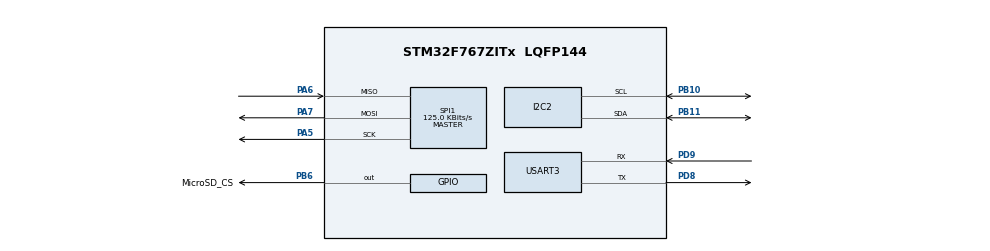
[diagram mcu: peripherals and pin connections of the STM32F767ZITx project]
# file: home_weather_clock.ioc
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CORTEX_M7.default_mode_Activation=1
FATFS._FS_EXFAT=1
FATFS._USE_LFN=2
FREERTOS.Tasks01=defaultTask,24,256,StartDefaultTask,Default,NULL,Dynamic,NULL,NULL
FREERTOS.configUSE_NEWLIB_REENTRANT=1
Mcu.Family=STM32F7
Mcu.Name=STM32F767ZITx
Mcu.Package=LQFP144
NVIC.PriorityGroup=NVIC_PRIORITYGROUP_4
NVIC.TIM8_TRG_COM_TIM14_IRQn=true\:15\:0\:false\:false\:true\:false\:false\:true\:true
NVIC.TimeBase=TIM8_TRG_COM_TIM14_IRQn
NVIC.TimeBaseIP=TIM14
PA13.Mode=Trace_Asynchronous_SW
PA13.Signal=SYS_JTMS-SWDIO
PA14.Mode=Trace_Asynchronous_SW
PA14.Signal=SYS_JTCK-SWCLK
PA5.GPIO_PuPd=GPIO_PULLUP
PA5.Mode=Full_Duplex_Master
PA5.Signal=SPI1_SCK
PA6.GPIO_PuPd=GPIO_PULLUP
PA6.Mode=Full_Duplex_Master
PA6.Signal=SPI1_MISO
PA7.GPIO_PuPd=GPIO_PULLUP
PA7.Mode=Full_Duplex_Master
PA7.Signal=SPI1_MOSI
PB10.GPIO_Pu=GPIO_PULLUP
PB10.Mode=I2C
PB10.Signal=I2C2_SCL
PB11.GPIO_Pu=GPIO_PULLUP
PB11.Mode=I2C
PB11.Signal=I2C2_SDA
PB3.Mode=Trace_Asynchronous_SW
PB3.Signal=SYS_JTDO-SWO
PB6.GPIO_Label=MicroSD_CS
PB6.GPIO_PuPd=GPIO_PULLUP
PB6.PinState=GPIO_PIN_SET
PB6.Signal=GPIO_Output
PD8.Mode=Asynchronous
PD8.Signal=USART3_TX
PD9.Mode=Asynchronous
PD9.Signal=USART3_RX
ProjectManager.HeapSize=0x200
ProjectManager.StackSize=0x400
ProjectManager.TargetToolchain=STM32CubeIDE
RCC.HSE_VALUE=25000000
RCC.HSI_VALUE=16000000
RCC.LSE_VALUE=32768
RCC.USBFreq_Value=96000000
RCC.VCOOutputFreq_Value=192000000
SPI1.BaudRatePrescaler=SPI_BAUDRATEPRESCALER_128
SPI1.CalculateBaudRate=125.0 KBits/s
SPI1.DataSize=SPI_DATASIZE_8BIT
SPI1.Direction=SPI_DIRECTION_2LINES
SPI1.Mode=SPI_MODE_MASTER
SPI1.VirtualType=VM_MASTER
USART3.VirtualMode-Asynchronous=VM_ASYNC
VP_FATFS_VS_Generic.Mode=User_defined
VP_FREERTOS_VS_CMSIS_V2.Mode=CMSIS_V2
VP_SYS_VS_tim14.Mode=TIM14
board=custom

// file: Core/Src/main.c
/* USER CODE BEGIN Header */
/**
 ******************************************************************************
 * @file           : main.c
 * @brief          : Main program body
 ******************************************************************************
 * @attention
 *
 * Copyright (c) 2025 STMicroelectronics.
 * All rights reserved.
 *
 * This software is licensed under terms that can be found in the LICENSE file
 * in the root directory of this software component.
 * If no LICENSE file comes with this software, it is provided AS-IS.
 *
 ******************************************************************************
 */
/* USER CODE END Header */
#include "main.h"
#include "cmsis_os.h"
#include "fatfs.h"

/* USER CODE BEGIN Includes */
#include <stdio.h>
#include "bme280_task.h"
#include "bme280_defs.h"
#include "stdbool.h"
#include "string.h"
/* USER CODE END Includes */

/* USER CODE BEGIN PD */
/**
 * Redirect stdout and stderr to our UART3 debug
 */
UART_HandleTypeDef huart3;
int _write(int fd, char *ptr, int len) {
	HAL_StatusTypeDef hstatus;

	if (fd == 1 || fd == 2) {
		hstatus = HAL_UART_Transmit(&huart3, (uint8_t*) ptr, len,
		HAL_MAX_DELAY);
		if (hstatus == HAL_OK)
			return len;
		else
			return -1;
	}
	return -1;
}
/* USER CODE END PD */

I2C_HandleTypeDef hi2c2;

SPI_HandleTypeDef hspi1;

UART_HandleTypeDef huart3;

/* Definitions for defaultTask */
osThreadId_t defaultTaskHandle;
const osThreadAttr_t defaultTask_attributes = { .name = "defaultTask",
		.stack_size = 1024 * 4, .priority = (osPriority_t) osPriorityNormal, };
/* USER CODE BEGIN PV */
osThreadId_t bme280SensorTaskHandle;
const osThreadAttr_t bme280SensorTask_attributes = { .name = "bme280SensorTask",
		.stack_size = 256 * 4, .priority = (osPriority_t) osPriorityNormal, };
FATFS fs;  // File system object
FIL fil;   // File object
/* USER CODE END PV */

void SystemClock_Config(void);
static void MPU_Config(void);
static void MX_GPIO_Init(void);
static void MX_USART3_UART_Init(void);
static void MX_SPI1_Init(void);
static void MX_I2C2_Init(void);
void StartDefaultTask(void *argument);

/* USER CODE BEGIN 0 */

void test_basic_spi(void) {
	uint8_t tx = 0x55;
	uint8_t rx = 0;

	printf("Testing basic SPI...\n");

	// Manually control CS
	HAL_GPIO_WritePin(GPIOB, GPIO_PIN_6, GPIO_PIN_RESET);
	HAL_Delay(1);

	HAL_StatusTypeDef status = HAL_SPI_TransmitReceive(&hspi1, &tx, &rx, 1,
	HAL_MAX_DELAY);

	HAL_GPIO_WritePin(GPIOB, GPIO_PIN_6, GPIO_PIN_SET);

	printf("SPI status: %d, Sent: 0x55, Received: 0x%02X\n", status, rx);
}

void Test_SD_Card() {
	printf("\n=== SD Card Initialization ===\n");

	// 1. Power-up sequence - ensure CS is high for at least 1ms
	HAL_GPIO_WritePin(GPIOB, GPIO_PIN_6, GPIO_PIN_SET); // CS HIGH
	HAL_Delay(100); // Power stabilization delay

	// Send 80+ clocks (10 bytes of 0xFF) with CS high
	uint8_t dummy = 0xFF;
	for (int i = 0; i < 10; i++) {
		HAL_SPI_Transmit(&hspi1, &dummy, 1, 100);
	}
	HAL_Delay(10);

	// 2. Send CMD0 (GO_IDLE_STATE) with proper timing
	uint8_t response;
	int attempts = 0;

	do {
		// Select card (CS low)
		HAL_GPIO_WritePin(GPIOB, GPIO_PIN_6, GPIO_PIN_RESET);
		HAL_Delay(1); // Short delay after CS assertion

		// Send CMD0: 0x40, 0x00, 0x00, 0x00, 0x00, 0x95
		uint8_t cmd0[] = { 0x40, 0x00, 0x00, 0x00, 0x00, 0x95 };
		HAL_SPI_Transmit(&hspi1, cmd0, 6, 100);

		// Wait for response (R1) - should be 0x01
		// SD cards can take up to 8 bytes to respond
		response = 0xFF;
		for (int i = 0; i < 8; i++) {
			HAL_SPI_TransmitReceive(&hspi1, &dummy, &response, 1, 100);
			if (response != 0xFF)
				break;
		}

		// Deselect card (CS high)
		HAL_GPIO_WritePin(GPIOB, GPIO_PIN_6, GPIO_PIN_SET);

		// Send at least one more clock cycle after deselecting
		HAL_SPI_Transmit(&hspi1, &dummy, 1, 100);
		HAL_Delay(10);

		printf("CMD0 attempt %d: 0x%02X\n", ++attempts, response);

		if (response == 0x01) {
			printf("CMD0 success (0x01 response)\n");
			break;
		}

		if (attempts >= 10) {
			printf("Failed to get valid CMD0 response after %d attempts\n",
					attempts);
			return;
		}

		HAL_Delay(100); // Wait before retry
	} while (response != 0x01);

	// 3. Send CMD8 to check voltage compatibility (SDC V2)
	HAL_GPIO_WritePin(GPIOB, GPIO_PIN_6, GPIO_PIN_RESET); // CS LOW
	HAL_Delay(1);

	uint8_t cmd8[] = { 0x48, 0x00, 0x00, 0x01, 0xAA, 0x87 }; // 2.7-3.6V, check pattern 0xAA
	HAL_SPI_Transmit(&hspi1, cmd8, 6, 100);

	// Wait for R1 response first
	uint8_t r1_response = 0xFF;
	for (int i = 0; i < 8; i++) {
		HAL_SPI_TransmitReceive(&hspi1, &dummy, &r1_response, 1, 100);
		if (r1_response != 0xFF)
			break;
	}

	// Read remaining 4 bytes of R7 response
	uint8_t r7_data[4];
	for (int i = 0; i < 4; i++) {
		HAL_SPI_TransmitReceive(&hspi1, &dummy, &r7_data[i], 1, 100);
	}

	HAL_GPIO_WritePin(GPIOB, GPIO_PIN_6, GPIO_PIN_SET); // CS HIGH
	HAL_SPI_Transmit(&hspi1, &dummy, 1, 100);

	printf("CMD8 R1: 0x%02X, R7 data: %02X %02X %02X %02X\n", r1_response,
			r7_data[0], r7_data[1], r7_data[2], r7_data[3]);

	// Check if CMD8 was accepted and voltage is compatible
	bool is_sdc_v2 = (r1_response == 0x01) && (r7_data[2] == 0x01)
			&& (r7_data[3] == 0xAA);
	printf("SDC V2 compatible: %s\n", is_sdc_v2 ? "Yes" : "No");

	// 4. Initialize with ACMD41 (retry with different approaches)
	uint32_t init_timeout = HAL_GetTick();
	uint32_t hcs_bit = is_sdc_v2 ? 0x40000000 : 0x00000000; // Set HCS bit for SDC V2

	printf("Starting ACMD41 initialization (HCS bit: %s)...\n",
			is_sdc_v2 ? "Set" : "Clear");

	do {
		// First send CMD55 (APP_CMD)
		HAL_GPIO_WritePin(GPIOB, GPIO_PIN_6, GPIO_PIN_RESET); // CS LOW
		HAL_Delay(1);

		uint8_t cmd55[] = { 0x77, 0x00, 0x00, 0x00, 0x00, 0x01 };
		HAL_SPI_Transmit(&hspi1, cmd55, 6, 100);

		// Wait for R1 response
		uint8_t cmd55_response = 0xFF;
		for (int i = 0; i < 8; i++) {
			HAL_SPI_TransmitReceive(&hspi1, &dummy, &cmd55_response, 1, 100);
			if (cmd55_response != 0xFF)
				break;
		}

		HAL_GPIO_WritePin(GPIOB, GPIO_PIN_6, GPIO_PIN_SET); // CS HIGH
		HAL_SPI_Transmit(&hspi1, &dummy, 1, 100);
		HAL_Delay(1);

		if (cmd55_response > 0x01) {
			printf("CMD55 failed: 0x%02X\n", cmd55_response);
			return;
		}

		// Then send ACMD41
		HAL_GPIO_WritePin(GPIOB, GPIO_PIN_6, GPIO_PIN_RESET); // CS LOW
		HAL_Delay(1);

		uint8_t acmd41[] = { 0x69, (hcs_bit >> 24) & 0xFF, (hcs_bit >> 16)
				& 0xFF, (hcs_bit >> 8) & 0xFF, hcs_bit & 0xFF, 0x01 };
		HAL_SPI_Transmit(&hspi1, acmd41, 6, 100);

		// Wait for R1 response
		response = 0xFF;
		for (int i = 0; i < 8; i++) {
			HAL_SPI_TransmitReceive(&hspi1, &dummy, &response, 1, 100);
			if (response != 0xFF)
				break;
		}

		HAL_GPIO_WritePin(GPIOB, GPIO_PIN_6, GPIO_PIN_SET); // CS HIGH
		HAL_SPI_Transmit(&hspi1, &dummy, 1, 100);

		if ((HAL_GetTick() - init_timeout) > 2000) {
			printf("ACMD41 timeout! Last response: 0x%02X\n", response);

			// Try alternative initialization for older cards
			printf("Trying alternative initialization for SDC V1/MMC...\n");
			init_timeout = HAL_GetTick();
			hcs_bit = 0x00000000; // Clear HCS bit
			continue;
		}

		if (response == 0x00) {
			printf("ACMD41 successful: 0x%02X\n", response);
			break;
		}

		// Only print every 10th attempt to reduce spam
		static int acmd41_count = 0;
		if (++acmd41_count % 10 == 0) {
			printf("ACMD41 attempt %d: 0x%02X\n", acmd41_count, response);
		}

		HAL_Delay(50); // Longer delay between attempts

	} while (response != 0x00);

	printf("Card initialized successfully!\n");

	// 5. Read OCR to verify card type (optional)
	HAL_GPIO_WritePin(GPIOB, GPIO_PIN_6, GPIO_PIN_RESET); // CS LOW
	HAL_Delay(1);

	uint8_t cmd58[] = { 0x7A, 0x00, 0x00, 0x00, 0x00, 0x01 };
	HAL_SPI_Transmit(&hspi1, cmd58, 6, 100);

	// Read R3 response (5 bytes: R1 + 4 OCR bytes)
	uint8_t ocr_response[5];
	for (int i = 0; i < 5; i++) {
		HAL_SPI_TransmitReceive(&hspi1, &dummy, &ocr_response[i], 1, 100);
	}

	HAL_GPIO_WritePin(GPIOB, GPIO_PIN_6, GPIO_PIN_SET); // CS HIGH
	HAL_SPI_Transmit(&hspi1, &dummy, 1, 100);

	printf("CMD58 Response: 0x%02X, OCR: %02X %02X %02X %02X\n",
			ocr_response[0], ocr_response[1], ocr_response[2], ocr_response[3],
			ocr_response[4]);

	// Check if it's SDHC/SDXC (bit 30 of OCR)
	if (ocr_response[1] & 0x40) {
		printf("Card type: SDHC/SDXC\n");
	} else {
		printf("Card type: SDSC\n");
	}
}

void Test_SD_FileSystem(void) {
	printf("\n=== Testing SD Card File System ===\n");

	FRESULT res;
	UINT bytesWritten, bytesRead;
	char writeBuffer[] =
			"Hello SD Card! This is a test file.\r\nLine 2: Temperature and sensor data can be stored here.\r\n";
	char readBuffer[200];

	// 1. Try to mount the file system
	res = f_mount(&fs, "", 1);  // 1 = mount immediately
	if (res == FR_NO_FILESYSTEM) {
		printf("No file system found. Card may need formatting.\n");
		printf(
				"Since card shows as FAT32 on PC, let's try different mount options...\n");

		// Try mounting without immediate mount
		res = f_mount(&fs, "", 0);
		if (res != FR_OK) {
			printf("Alternative mount also failed: %d\n", res);

			// Only try formatting as last resort
			printf("Attempting to format SD card...\n");
			static BYTE work[4096];
			res = f_mkfs("", FM_FAT32, 0, work, sizeof(work));
			if (res != FR_OK) {
				printf("f_mkfs failed: %d\n", res);
				printf(
						"Error codes: FR_DISK_ERR=1, FR_NOT_READY=3, FR_WRITE_PROTECTED=10, FR_INVALID_PARAMETER=19\n");
				return;
			}
			printf("SD card formatted successfully\n");

			// Try to mount again after formatting
			res = f_mount(&fs, "", 1);
			if (res != FR_OK) {
				printf("f_mount after format failed: %d\n", res);
				return;
			}
		}
		printf("File system mounted successfully\n");
	} else if (res != FR_OK) {
		printf("f_mount failed: %d\n", res);
		printf(
				"Error codes: FR_DISK_ERR=1, FR_NOT_READY=3, FR_NO_FILESYSTEM=13\n");
		return;
	} else {
		printf("File system mounted successfully (existing FAT32)\n");
	}

	// 2. Create/Open a test file for writing
	res = f_open(&fil, "test.txt", FA_CREATE_ALWAYS | FA_WRITE);
	if (res != FR_OK) {
		printf("f_open for write failed: %d\n", res);
		f_mount(NULL, "", 0); // Unmount
		return;
	}
	printf("File opened for writing\n");

	// 3. Write data to file
	res = f_write(&fil, writeBuffer, strlen(writeBuffer), &bytesWritten);
	if (res != FR_OK) {
		printf("f_write failed: %d\n", res);
		f_close(&fil);
		f_mount(NULL, "", 0);
		return;
	}
	printf("Written %u bytes to file\n", bytesWritten);

	// 4. Close the file
	res = f_close(&fil);
	if (res != FR_OK) {
		printf("f_close after write failed: %d\n", res);
		f_mount(NULL, "", 0);
		return;
	}
	printf("File closed after writing\n");

	// 5. Open the file for reading
	res = f_open(&fil, "test.txt", FA_READ);
	if (res != FR_OK) {
		printf("f_open for read failed: %d\n", res);
		f_mount(NULL, "", 0);
		return;
	}
	printf("File opened for reading\n");

	// 6. Read data from file
	memset(readBuffer, 0, sizeof(readBuffer));
	res = f_read(&fil, readBuffer, sizeof(readBuffer) - 1, &bytesRead);
	if (res != FR_OK) {
		printf("f_read failed: %d\n", res);
		f_close(&fil);
		f_mount(NULL, "", 0);
		return;
	}
	printf("Read %u bytes from file\n", bytesRead);

	// 7. Display read data
	printf("File contents:\n%s\n", readBuffer);

	// 8. Verify data integrity
	if (strcmp(writeBuffer, readBuffer) == 0) {
		printf("✓ Data integrity verified - write/read successful!\n");
	} else {
		printf("✗ Data mismatch detected!\n");
		printf("Expected length: %d, Got length: %d\n", strlen(writeBuffer),
				strlen(readBuffer));
	}

	// 9. Test directory listing (optional)
	printf("\nTesting directory listing:\n");
	DIR dir;
	FILINFO fno;

	res = f_opendir(&dir, "/");
	if (res == FR_OK) {
		for (;;) {
			res = f_readdir(&dir, &fno);
			if (res != FR_OK || fno.fname[0] == 0)
				break;
			printf("  %s (%lu bytes)\n", fno.fname, fno.fsize);
		}
		f_closedir(&dir);
	}

	// 10. Close file and unmount
	f_close(&fil);
	f_mount(NULL, "", 0);
	printf("File system unmounted\n");

	printf("=== SD Card File System Test Complete ===\n\n");
}
/* USER CODE END 0 */

int main(void) {

	/* MPU Configuration--------------------------------------------------------*/
	MPU_Config();

	/* MCU Configuration--------------------------------------------------------*/

	/* Reset of all peripherals, Initializes the Flash interface and the Systick. */
	HAL_Init();

	/* Configure the system clock */
	SystemClock_Config();

	/* Initialize all configured peripherals */
	MX_GPIO_Init();
	MX_USART3_UART_Init();
	MX_SPI1_Init();
	MX_I2C2_Init();
	MX_FATFS_Init();
	/* USER CODE BEGIN 2 */
	printf("Finished setup. Starting kernel and tasks.\n");

	/* USER CODE END 2 */

	/* Init scheduler */
	osKernelInitialize();

	/* Create the thread(s) */
	/* creation of defaultTask */
	defaultTaskHandle = osThreadNew(StartDefaultTask, NULL,
			&defaultTask_attributes);

	/* USER CODE BEGIN RTOS_THREADS */
	/* add threads, ... */
	//bme280SensorTaskHandle = osThreadNew(bme280SensorTask, NULL,
	//		&bme280SensorTask_attributes);
	/* USER CODE END RTOS_THREADS */

	/* Start scheduler */
	osKernelStart();

	/* We should never get here as control is now taken by the scheduler */

	/* Infinite loop */
	while (1) {

	}
}

void SystemClock_Config(void) {
	RCC_OscInitTypeDef RCC_OscInitStruct = { 0 };
	RCC_ClkInitTypeDef RCC_ClkInitStruct = { 0 };

	/** Configure the main internal regulator output voltage
	 */
	__HAL_RCC_PWR_CLK_ENABLE();
	__HAL_PWR_VOLTAGESCALING_CONFIG(PWR_REGULATOR_VOLTAGE_SCALE3);

	/** Initializes the RCC Oscillators according to the specified parameters
	 * in the RCC_OscInitTypeDef structure.
	 */
	RCC_OscInitStruct.OscillatorType = RCC_OSCILLATORTYPE_HSI;
	RCC_OscInitStruct.HSIState = RCC_HSI_ON;
	RCC_OscInitStruct.HSICalibrationValue = RCC_HSICALIBRATION_DEFAULT;
	RCC_OscInitStruct.PLL.PLLState = RCC_PLL_NONE;
	if (HAL_RCC_OscConfig(&RCC_OscInitStruct) != HAL_OK) {
		Error_Handler();
	}

	/** Initializes the CPU, AHB and APB buses clocks
	 */
	RCC_ClkInitStruct.ClockType = RCC_CLOCKTYPE_HCLK | RCC_CLOCKTYPE_SYSCLK
			| RCC_CLOCKTYPE_PCLK1 | RCC_CLOCKTYPE_PCLK2;
	RCC_ClkInitStruct.SYSCLKSource = RCC_SYSCLKSOURCE_HSI;
	RCC_ClkInitStruct.AHBCLKDivider = RCC_SYSCLK_DIV1;
	RCC_ClkInitStruct.APB1CLKDivider = RCC_HCLK_DIV1;
	RCC_ClkInitStruct.APB2CLKDivider = RCC_HCLK_DIV1;

	if (HAL_RCC_ClockConfig(&RCC_ClkInitStruct, FLASH_LATENCY_0) != HAL_OK) {
		Error_Handler();
	}
}

static void MX_I2C2_Init(void) {

	hi2c2.Instance = I2C2;
	hi2c2.Init.Timing = 0x00303D5B;
	hi2c2.Init.OwnAddress1 = 0;
	hi2c2.Init.AddressingMode = I2C_ADDRESSINGMODE_7BIT;
	hi2c2.Init.DualAddressMode = I2C_DUALADDRESS_DISABLE;
	hi2c2.Init.OwnAddress2 = 0;
	hi2c2.Init.OwnAddress2Masks = I2C_OA2_NOMASK;
	hi2c2.Init.GeneralCallMode = I2C_GENERALCALL_DISABLE;
	hi2c2.Init.NoStretchMode = I2C_NOSTRETCH_DISABLE;
	if (HAL_I2C_Init(&hi2c2) != HAL_OK) {
		Error_Handler();
	}

	/** Configure Analogue filter
	 */
	if (HAL_I2CEx_ConfigAnalogFilter(&hi2c2, I2C_ANALOGFILTER_ENABLE)
			!= HAL_OK) {
		Error_Handler();
	}

	/** Configure Digital filter
	 */
	if (HAL_I2CEx_ConfigDigitalFilter(&hi2c2, 0) != HAL_OK) {
		Error_Handler();
	}

}

static void MX_SPI1_Init(void) {

	/* SPI1 parameter configuration*/
	hspi1.Instance = SPI1;
	hspi1.Init.Mode = SPI_MODE_MASTER;
	hspi1.Init.Direction = SPI_DIRECTION_2LINES;
	hspi1.Init.DataSize = SPI_DATASIZE_8BIT;
	hspi1.Init.CLKPolarity = SPI_POLARITY_LOW;
	hspi1.Init.CLKPhase = SPI_PHASE_1EDGE;
	hspi1.Init.NSS = SPI_NSS_SOFT;
	hspi1.Init.BaudRatePrescaler = SPI_BAUDRATEPRESCALER_128;
	hspi1.Init.FirstBit = SPI_FIRSTBIT_MSB;
	hspi1.Init.TIMode = SPI_TIMODE_DISABLE;
	hspi1.Init.CRCCalculation = SPI_CRCCALCULATION_DISABLE;
	hspi1.Init.CRCPolynomial = 7;
	hspi1.Init.CRCLength = SPI_CRC_LENGTH_DATASIZE;
	hspi1.Init.NSSPMode = SPI_NSS_PULSE_ENABLE;
	if (HAL_SPI_Init(&hspi1) != HAL_OK) {
		Error_Handler();
	}

}

static void MX_USART3_UART_Init(void) {

	huart3.Instance = USART3;
	huart3.Init.BaudRate = 115200;
	huart3.Init.WordLength = UART_WORDLENGTH_8B;
	huart3.Init.StopBits = UART_STOPBITS_1;
	huart3.Init.Parity = UART_PARITY_NONE;
	huart3.Init.Mode = UART_MODE_TX_RX;
	huart3.Init.HwFlowCtl = UART_HWCONTROL_NONE;
	huart3.Init.OverSampling = UART_OVERSAMPLING_16;
	huart3.Init.OneBitSampling = UART_ONE_BIT_SAMPLE_DISABLE;
	huart3.AdvancedInit.AdvFeatureInit = UART_ADVFEATURE_NO_INIT;
	if (HAL_UART_Init(&huart3) != HAL_OK) {
		Error_Handler();
	}

}

static void MX_GPIO_Init(void) {
	GPIO_InitTypeDef GPIO_InitStruct = { 0 };

	/* GPIO Ports Clock Enable */
	__HAL_RCC_GPIOA_CLK_ENABLE();
	__HAL_RCC_GPIOB_CLK_ENABLE();
	__HAL_RCC_GPIOD_CLK_ENABLE();

	/*Configure GPIO pin Output Level */
	HAL_GPIO_WritePin(MicroSD_CS_GPIO_Port, MicroSD_CS_Pin, GPIO_PIN_SET);

	/*Configure GPIO pin : MicroSD_CS_Pin */
	GPIO_InitStruct.Pin = MicroSD_CS_Pin;
	GPIO_InitStruct.Mode = GPIO_MODE_OUTPUT_PP;
	GPIO_InitStruct.Pull = GPIO_PULLUP;
	GPIO_InitStruct.Speed = GPIO_SPEED_FREQ_LOW;
	HAL_GPIO_Init(MicroSD_CS_GPIO_Port, &GPIO_InitStruct);

	/* USER CODE BEGIN MX_GPIO_Init_2 */
	__HAL_RCC_SPI1_CLK_ENABLE();  // Enable SPI1 clock

	// Configure SPI pins (PA5=SCK, PA6=MISO, PA7=MOSI)
	GPIO_InitStruct.Pin = GPIO_PIN_5 | GPIO_PIN_7;
	GPIO_InitStruct.Mode = GPIO_MODE_AF_PP;
	GPIO_InitStruct.Pull = GPIO_NOPULL;
	GPIO_InitStruct.Speed = GPIO_SPEED_FREQ_HIGH;
	GPIO_InitStruct.Alternate = GPIO_AF5_SPI1;
	HAL_GPIO_Init(GPIOA, &GPIO_InitStruct);

	// MISO needs pull-up
	GPIO_InitStruct.Pin = GPIO_PIN_6;
	GPIO_InitStruct.Pull = GPIO_PULLUP;  // Critical for SD cards
	HAL_GPIO_Init(GPIOA, &GPIO_InitStruct);
	/* USER CODE END MX_GPIO_Init_2 */
}

void StartDefaultTask(void *argument) {
	/* USER CODE BEGIN 5 */

	// Run file system test once at startup
	static bool fileSystemTested = false;

	printf("Default task started\n");

	/* Infinite loop */
	for (;;) {
		// Only run the raw SD test if file system hasn't been tested yet
		if (!fileSystemTested) {
			printf("Running initial SD card test...\n");
			test_basic_spi();
			Test_SD_Card();

			// Give some time after initialization
			HAL_Delay(2000);

			// Test file system operations (only once)
			Test_SD_FileSystem();
			fileSystemTested = true;

			printf("SD card testing complete, entering normal operation\n");
		}

		// Normal operation - just delay
		osDelay(10000); // Long delay to avoid interference
	}
	/* USER CODE END 5 */
}

/* MPU Configuration */

void MPU_Config(void) {
	MPU_Region_InitTypeDef MPU_InitStruct = { 0 };

	/* Disables the MPU */
	HAL_MPU_Disable();

	/** Initializes and configures the Region and the memory to be protected
	 */
	MPU_InitStruct.Enable = MPU_REGION_ENABLE;
	MPU_InitStruct.Number = MPU_REGION_NUMBER0;
	MPU_InitStruct.BaseAddress = 0x0;
	MPU_InitStruct.Size = MPU_REGION_SIZE_4GB;
	MPU_InitStruct.SubRegionDisable = 0x87;
	MPU_InitStruct.TypeExtField = MPU_TEX_LEVEL0;
	MPU_InitStruct.AccessPermission = MPU_REGION_NO_ACCESS;
	MPU_InitStruct.DisableExec = MPU_INSTRUCTION_ACCESS_DISABLE;
	MPU_InitStruct.IsShareable = MPU_ACCESS_SHAREABLE;
	MPU_InitStruct.IsCacheable = MPU_ACCESS_NOT_CACHEABLE;
	MPU_InitStruct.IsBufferable = MPU_ACCESS_NOT_BUFFERABLE;

	HAL_MPU_ConfigRegion(&MPU_InitStruct);
	/* Enables the MPU */
	HAL_MPU_Enable(MPU_PRIVILEGED_DEFAULT);

}

void HAL_TIM_PeriodElapsedCallback(TIM_HandleTypeDef *htim) {
	if (htim->Instance == TIM14) {
		HAL_IncTick();
	}
}

void Error_Handler(void) {
	__disable_irq();
	while (1) {
	}
}
